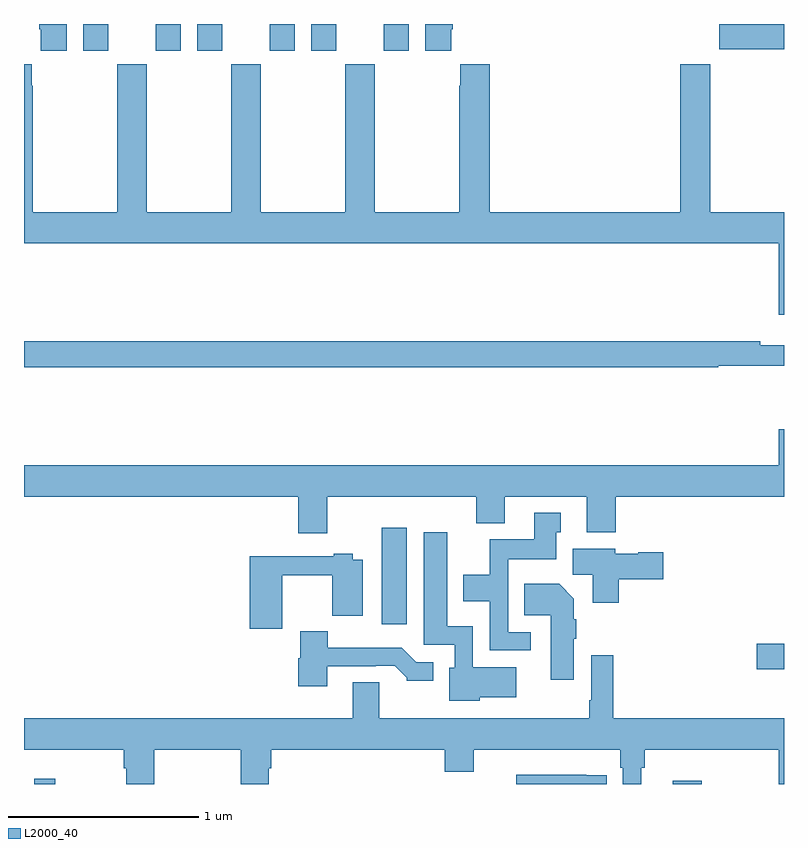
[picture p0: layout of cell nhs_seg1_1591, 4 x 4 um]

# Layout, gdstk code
import gdstk
lib = gdstk.Library(unit=1e-6, precision=1e-09)
def R(c, l, rs):  # rectangles x0, y0, x1, y1
    for r in rs: c.add(gdstk.rectangle(r[:2], r[2:], *l))
def P(c, l, *ps):  # polygons
    for p in ps: c.add(gdstk.Polygon(p, *l))
L2000_40 = (2000, 40)

nhs_seg1_1591 = lib.new_cell('nhs_seg1_1591')
R(nhs_seg1_1591, L2000_40, [(197.055,570.199,197.164,570.226), (200.414,570.199,200.568,570.217), (200.856,570.803,201,570.938), (198.884,571.041,199.015,571.549), (197.312,574.059,197.443,574.199), (197.693,574.059,197.824,574.199), (197.912,574.059,198.043,574.199), (198.293,574.059,198.424,574.199), (198.512,574.059,198.643,574.199), (198.893,574.059,199.024,574.199), (200.66,574.067,201,574.199)])
P(nhs_seg1_1591, L2000_40, [(197.224,574.199),(197.081,574.199),(197.081,574.171),(197.087,574.171),(197.087,574.059),(197.224,574.059)],
  [(199.249,574.171),(199.256,574.171),(199.256,574.199),(199.112,574.199),(199.112,574.059),(199.249,574.059)],
  [(201,573.208),(200.613,573.208),(200.613,573.988),(200.453,573.988),(200.453,573.208),(199.451,573.208),(199.451,573.988),(199.295,573.988),(199.295,573.875),(199.291,573.875),(199.291,573.208),(198.846,573.208),(198.846,573.988),(198.691,573.988),(198.691,573.208),(198.246,573.208),(198.246,573.988),(198.091,573.988),(198.091,573.208),(197.646,573.208),(197.646,573.988),(197.491,573.988),(197.491,573.208),(197.046,573.208),(197.046,573.875),(197.041,573.875),(197.041,573.988),(197,573.988),(197,573.044),(200.972,573.044),(200.972,572.67),(201,572.67)],
  [(200.655,572.4),(201,572.4),(201,572.509),(200.876,572.509),(200.876,572.528),(197,572.528),(197,572.392),(200.655,572.392)],
  [(198.595,571.712),(199.379,571.712),(199.379,571.571),(199.531,571.571),(199.531,571.712),(199.961,571.712),(199.961,571.523),(200.114,571.523),(200.114,571.712),(201,571.712),(201,572.065),(200.972,572.065),(200.972,571.876),(197,571.876),(197,571.712),(198.443,571.712),(198.443,571.518),(198.595,571.518)],
  [(199.666,570.999),(199.548,570.999),(199.548,571.382),(199.801,571.382),(199.801,571.524),(199.825,571.524),(199.825,571.627),(199.685,571.627),(199.685,571.486),(199.45,571.486),(199.45,571.3),(199.313,571.3),(199.313,571.16),(199.452,571.16),(199.452,570.903),(199.666,570.903)],
  [(199.398,570.656),(199.591,570.656),(199.591,570.814),(199.362,570.814),(199.362,571.03),(199.228,571.03),(199.228,571.525),(199.103,571.525),(199.103,570.933),(199.266,570.933),(199.266,570.81),(199.238,570.81),(199.238,570.638),(199.398,570.638)],
  [(200.129,571.277),(200.365,571.277),(200.365,571.419),(200.232,571.419),(200.232,571.411),(200.112,571.411),(200.112,571.438),(199.889,571.438),(199.889,571.3),(199.994,571.3),(199.994,571.152),(200.129,571.152)],
  [(198.358,571.297),(198.622,571.297),(198.622,571.085),(198.784,571.085),(198.784,571.378),(198.729,571.378),(198.729,571.411),(198.629,571.411),(198.629,571.398),(198.188,571.398),(198.188,571.017),(198.358,571.017)],
  [(199.894,570.964),(199.907,570.964),(199.907,571.067),(199.894,571.067),(199.894,571.174),(199.816,571.252),(199.633,571.252),(199.633,571.088),(199.772,571.088),(199.772,570.747),(199.894,570.747)],
  [(198.595,570.819),(198.851,570.819),(198.851,570.822),(198.95,570.822),(199.014,570.758),(199.014,570.743),(199.153,570.743),(199.153,570.84),(199.065,570.84),(198.989,570.916),(198.598,570.916),(198.598,571.003),(198.455,571.003),(198.455,570.861),(198.443,570.861),(198.443,570.714),(198.595,570.714)],
  [(197.685,570.38),(198.142,570.38),(198.142,570.199),(198.289,570.199),(198.289,570.282),(198.302,570.282),(198.302,570.38),(199.214,570.38),(199.214,570.263),(199.366,570.263),(199.366,570.38),(200.138,570.38),(200.138,570.284),(200.151,570.284),(200.151,570.199),(200.248,570.199),(200.248,570.284),(200.267,570.284),(200.267,570.38),(200.972,570.38),(200.972,570.199),(201,570.199),(201,570.544),(200.102,570.544),(200.102,570.877),(199.986,570.877),(199.986,570.64),(199.974,570.64),(199.974,570.544),(198.871,570.544),(198.871,570.734),(198.731,570.734),(198.731,570.544),(197,570.544),(197,570.38),(197.525,570.38),(197.525,570.282),(197.537,570.282),(197.537,570.199),(197.685,570.199)],
  [(200.066,570.246),(199.958,570.246),(199.958,570.247),(199.59,570.247),(199.59,570.199),(200.066,570.199)])

lib.write_gds('nhs_seg1_1591.gds')
